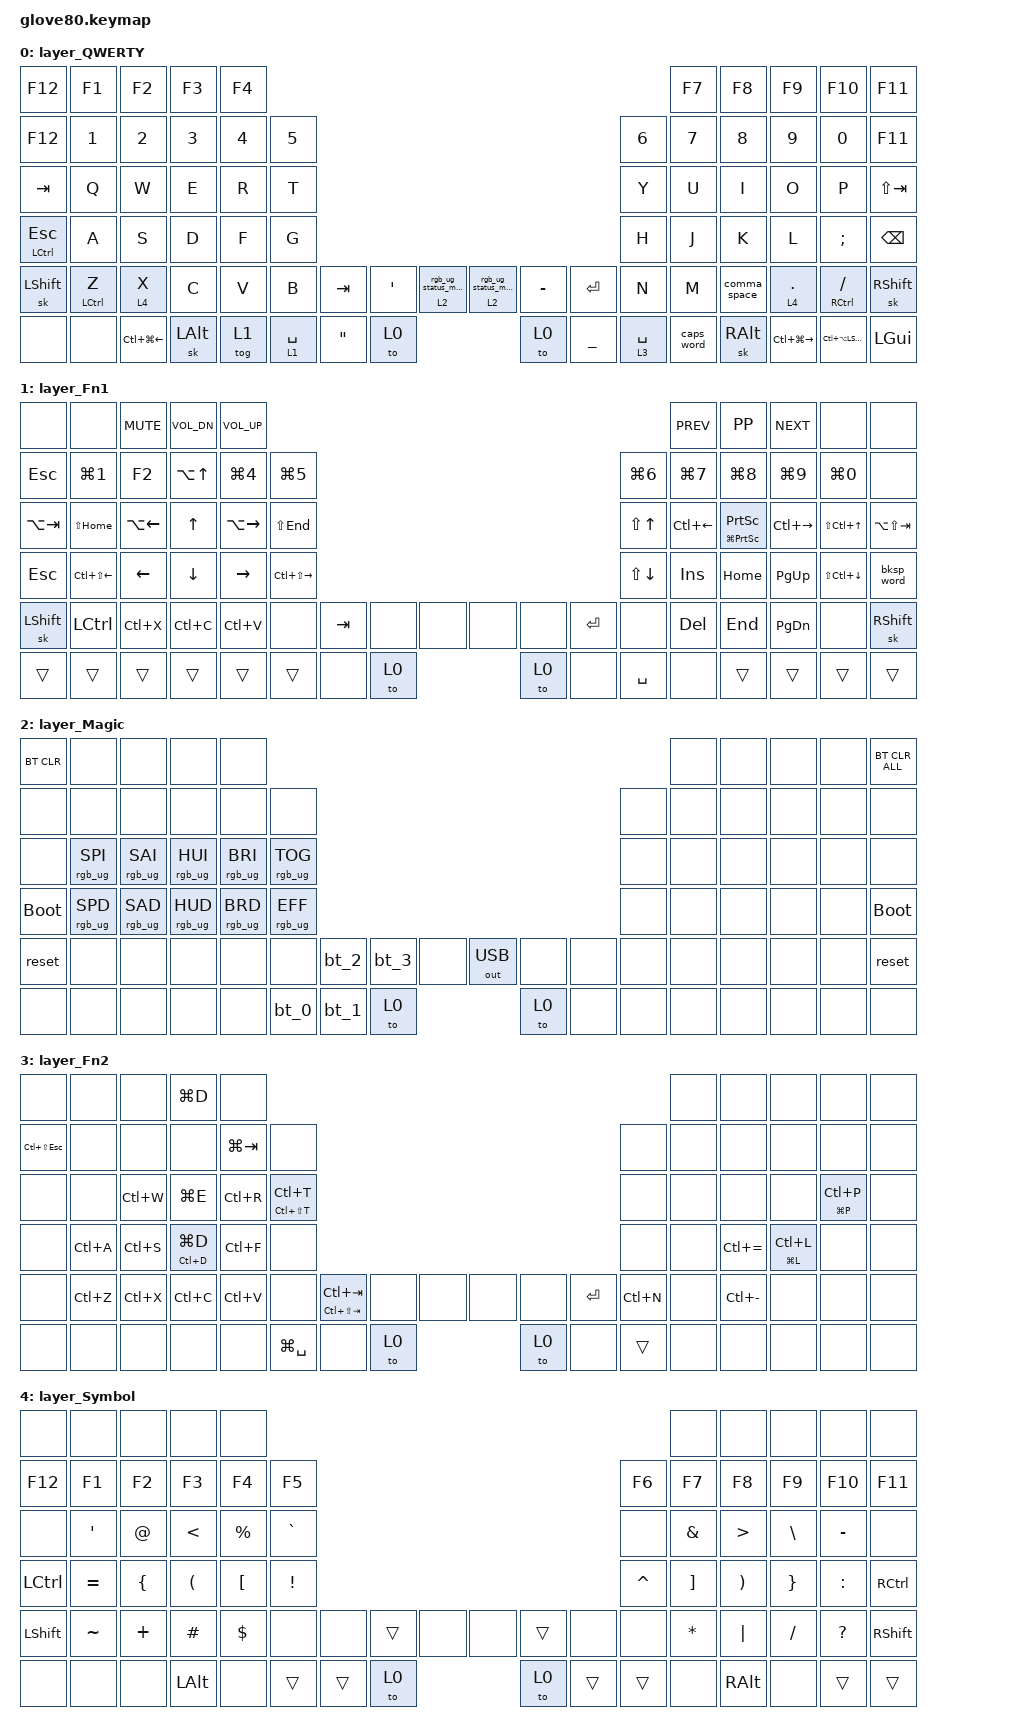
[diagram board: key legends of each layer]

/*
 * Copyright (c) 2020 The ZMK Contributors
 * Copyright (c) 2022 Innaworks Development Limited, trading as MoErgo
 *
 * SPDX-License-Identifier: MIT
 */


/* THIS FILE WAS GENERATED BY GLOVE80 LAYOUT EDITOR
 *
 * This file was generated automatically. You may or may not want to
 * edit it directly.
 */

#include <behaviors.dtsi>
/* Include all behaviour includes needed by system behaviors/macros */
#include <dt-bindings/zmk/outputs.h>

/* Include behaviour includes needed by key binds - automatically generated */
#include <dt-bindings/zmk/keys.h>
#include <dt-bindings/zmk/bt.h>
#include <dt-bindings/zmk/rgb.h>
#include <dt-bindings/zmk/outputs.h>

&mt {
    tapping-term-ms = <230>;
};

&lt {
    tapping-term-ms = <230>;
};

/ {
    /* Glove80 system behavior & macros */
    behaviors {
        // For the "layer" key, it'd nice to be able to use it as either a shift or a toggle.
        // Configure it as a tap dance, so the first tap (or hold) is a &mo and the second tap is a &to
        lower: tap_dance_0 {
            compatible = "zmk,behavior-tap-dance";
            label = "LAYER_TAP_DANCE";
            #binding-cells = <0>;
            tapping-term-ms = <200>;
            bindings = <&mo 1>, <&to 1>;
        };
    };

    macros {
        rgb_ug_status_macro: rgb_ug_status_macro_0 {
            label = "RGB_UG_STATUS";
            compatible = "zmk,behavior-macro";
            #binding-cells = <0>;
            bindings
                = <&rgb_ug RGB_STATUS>;
        };
    };

    macros {
        bt_0: bt_profile_macro_0 {
            label = "BT_0";
            compatible = "zmk,behavior-macro";
            #binding-cells = <0>;
            bindings
                = <&out OUT_BLE>,
                  <&bt BT_SEL 0>;
        };
    };

    macros {
        bt_1: bt_profile_macro_1 {
            label = "BT_1";
            compatible = "zmk,behavior-macro";
            #binding-cells = <0>;
            bindings
                = <&out OUT_BLE>,
                  <&bt BT_SEL 1>;
        };
    };

    macros {
        bt_2: bt_profile_macro_2 {
            label = "BT_2";
            compatible = "zmk,behavior-macro";
            #binding-cells = <0>;
            bindings
                = <&out OUT_BLE>,
                  <&bt BT_SEL 2>;
        };
    };

    macros {
        bt_3: bt_profile_macro_3 {
            label = "BT_3";
            compatible = "zmk,behavior-macro";
            #binding-cells = <0>;
            bindings
                = <&out OUT_BLE>,
                  <&bt BT_SEL 3>;
        };
    };

    magic: magic_hold_tap {
        compatible = "zmk,behavior-hold-tap";
        label = "MAGIC_HOLD_TAP";
        #binding-cells = <2>;
        flavor = "tap-preferred";
        tapping-term-ms = <200>;
        bindings = <&mo>, <&rgb_ug_status_macro>;
    };

    /* Custom Defined Behaviors */
    behaviors {
        bksp_word: bksp_word {
            compatible = "zmk,behavior-macro";
            label = "bksp_word";
            #binding-cells = <0>;
            bindings = <&kp LC(LS(LEFT)) &kp BACKSPACE>;
        };

        comma_space: comma_space {
            compatible = "zmk,behavior-macro";
            label = "comma_space";
            #binding-cells = <0>;
            bindings = <&kp COMMA &kp SPACE>;
        };

        sht: slow_hold_tap {
            compatible = "zmk,behavior-hold-tap";
            label = "slow_hold_tap";
            #binding-cells = <2>;
            tapping-term-ms = <230>;
            bindings = <&kp>, <&kp>;
        };
    };

    /* Automatically generated keymap */
    keymap {
        compatible = "zmk,keymap";


        layer_QWERTY {
            bindings = <
          &kp F12       &kp F1            &kp F2    &kp F3   &kp F4                                                                                                         &kp F7                &kp F8             &kp F9             &kp F10         &kp F11
          &kp F12       &kp N1            &kp N2    &kp N3   &kp N4      &kp N5                                                                                &kp N6       &kp N7                &kp N8             &kp N9              &kp N0         &kp F11
          &kp TAB        &kp Q             &kp W     &kp E    &kp R       &kp T                                                                                 &kp Y        &kp U                 &kp I              &kp O               &kp P     &kp LS(TAB)
    &mt LCTRL ESC        &kp A             &kp S     &kp D    &kp F       &kp G                                                                                 &kp H        &kp J                 &kp K              &kp L            &kp SEMI        &kp BSPC
        &sk LSHFT  &mt LCTRL Z           &lt 4 X     &kp C    &kp V       &kp B      &kp TAB  &kp SQT  &magic 2 0  &magic 2 0    &kp MINUS        &kp RET       &kp N        &kp M          &comma_space          &lt 4 DOT      &mt RCTRL FSLH       &sk RSHFT
            &none        &none  &kp LC(LG(LEFT))  &sk LALT   &tog 1              &lt 1 SPACE  &kp DQT       &to 0       &to 0    &kp UNDER    &lt 3 SPACE               &caps_word              &sk RALT  &kp LC(LG(RIGHT))  &kp LC(LA(LSHIFT))        &kp LGUI
            >;
        };

        layer_Fn1 {
            bindings = <
                    &none              &none      &kp C_MUTE    &kp C_VOL_DN      &kp C_VOL_UP                                                                                               &kp C_PREV               &kp K_PP     &kp C_NEXT             &none            &none
                  &kp ESC         &kp LG(N1)          &kp F2      &kp LA(UP)        &kp LG(N4)         &kp LG(N5)                                                              &kp LG(N6)    &kp LG(N7)             &kp LG(N8)     &kp LG(N9)        &kp LG(N0)            &none
              &kp LA(TAB)       &kp LS(HOME)    &kp LA(LEFT)    &kp UP_ARROW     &kp LA(RIGHT)        &kp LS(END)                                                              &kp LS(UP)  &kp LC(LEFT)   &sht LG(PSCRN) PSCRN  &kp LC(RIGHT)    &kp LS(LC(UP))  &kp LA(LS(TAB))
                  &kp ESC   &kp LC(LS(LEFT))  &kp LEFT_ARROW  &kp DOWN_ARROW   &kp RIGHT_ARROW  &kp LC(LS(RIGHT))                                                            &kp LS(DOWN)       &kp INS               &kp HOME      &kp PG_UP  &kp LS(LC(DOWN))       &bksp_word
                &sk LSHFT          &kp LCTRL       &kp LC(X)       &kp LC(C)         &kp LC(V)              &none    &kp TAB   &none   &none   &none   &none    &kp RET             &none       &kp DEL                &kp END      &kp PG_DN             &none        &sk RSHFT
                   &trans             &trans          &trans          &trans            &trans                        &trans   &none   &to 0   &to 0   &none  &kp SPACE                           &none                 &trans         &trans            &trans           &trans
            >;
        };

        layer_Magic {
            bindings = <
  &bt BT_CLR            &none            &none            &none            &none                                                                                        &none   &none   &none   &none  &bt BT_CLR_ALL
       &none            &none            &none            &none            &none            &none                                                               &none   &none   &none   &none   &none           &none
       &none  &rgb_ug RGB_SPI  &rgb_ug RGB_SAI  &rgb_ug RGB_HUI  &rgb_ug RGB_BRI  &rgb_ug RGB_TOG                                                               &none   &none   &none   &none   &none           &none
 &bootloader  &rgb_ug RGB_SPD  &rgb_ug RGB_SAD  &rgb_ug RGB_HUD  &rgb_ug RGB_BRD  &rgb_ug RGB_EFF                                                               &none   &none   &none   &none   &none     &bootloader
      &reset            &none            &none            &none            &none            &none   &bt_2   &bt_3   &none        &out OUT_USB   &none   &none   &none   &none   &none   &none   &none          &reset
       &none            &none            &none            &none            &none                    &bt_0   &bt_1   &to 0               &to 0   &none   &none           &none   &none   &none   &none           &none
            >;
        };

        layer_Fn2 {
            bindings = <
                    &none      &none      &none          &kp LG(D)        &none                                                                                                        &none             &none             &none             &none   &none
          &kp LC(LS(ESC))      &none      &none              &none  &kp LG(TAB)                 &none                                                                          &none   &none             &none             &none             &none   &none
                    &none      &none  &kp LC(W)          &kp LG(E)    &kp LC(R)  &sht LC(LS(T)) LC(T)                                                                          &none   &none             &none             &none  &sht LG(P) LC(P)   &none
                    &none  &kp LC(A)  &kp LC(S)   &sht LC(D) LG(D)    &kp LC(F)                 &none                                                                          &none   &none     &kp LC(EQUAL)  &sht LG(L) LC(L)             &none   &none
                    &none  &kp LC(Z)  &kp LC(X)          &kp LC(C)    &kp LC(V)                 &none  &sht LC(LS(TAB)) LC(TAB)   &none   &none   &none   &none  &kp RET   &kp LC(N)   &none     &kp LC(MINUS)             &none             &none   &none
                    &none      &none      &none              &none        &none                                   &kp LG(SPACE)   &none   &to 0   &to 0   &none   &trans               &none             &none             &none             &none   &none
            >;
        };

        layer_Symbol {
            bindings = <
     &none      &none     &none     &none      &none                                                                               &none     &none     &none      &none      &none
   &kp F12     &kp F1    &kp F2    &kp F3     &kp F4     &kp F5                                                         &kp F6    &kp F7    &kp F8    &kp F9    &kp F10    &kp F11
     &none    &kp SQT    &kp AT    &kp LT  &kp PRCNT  &kp GRAVE                                                          &none  &kp AMPS    &kp GT  &kp BSLH  &kp MINUS      &none
 &kp LCTRL  &kp EQUAL  &kp LBRC  &kp LPAR   &kp LBKT   &kp EXCL                                                      &kp CARET  &kp RBKT  &kp RPAR  &kp RBRC  &kp COLON  &kp RCTRL
 &kp LSHFT  &kp TILDE  &kp PLUS  &kp HASH   &kp DLLR      &none   &none      &trans  &none   &none  &trans    &none      &none  &kp STAR  &kp PIPE  &kp FSLH  &kp QMARK  &kp RSHFT
     &none      &none     &none  &kp LALT      &none             &trans      &trans  &to 0   &to 0  &trans   &trans                &none  &kp RALT     &none     &trans     &trans
            >;
        };

    };
};
